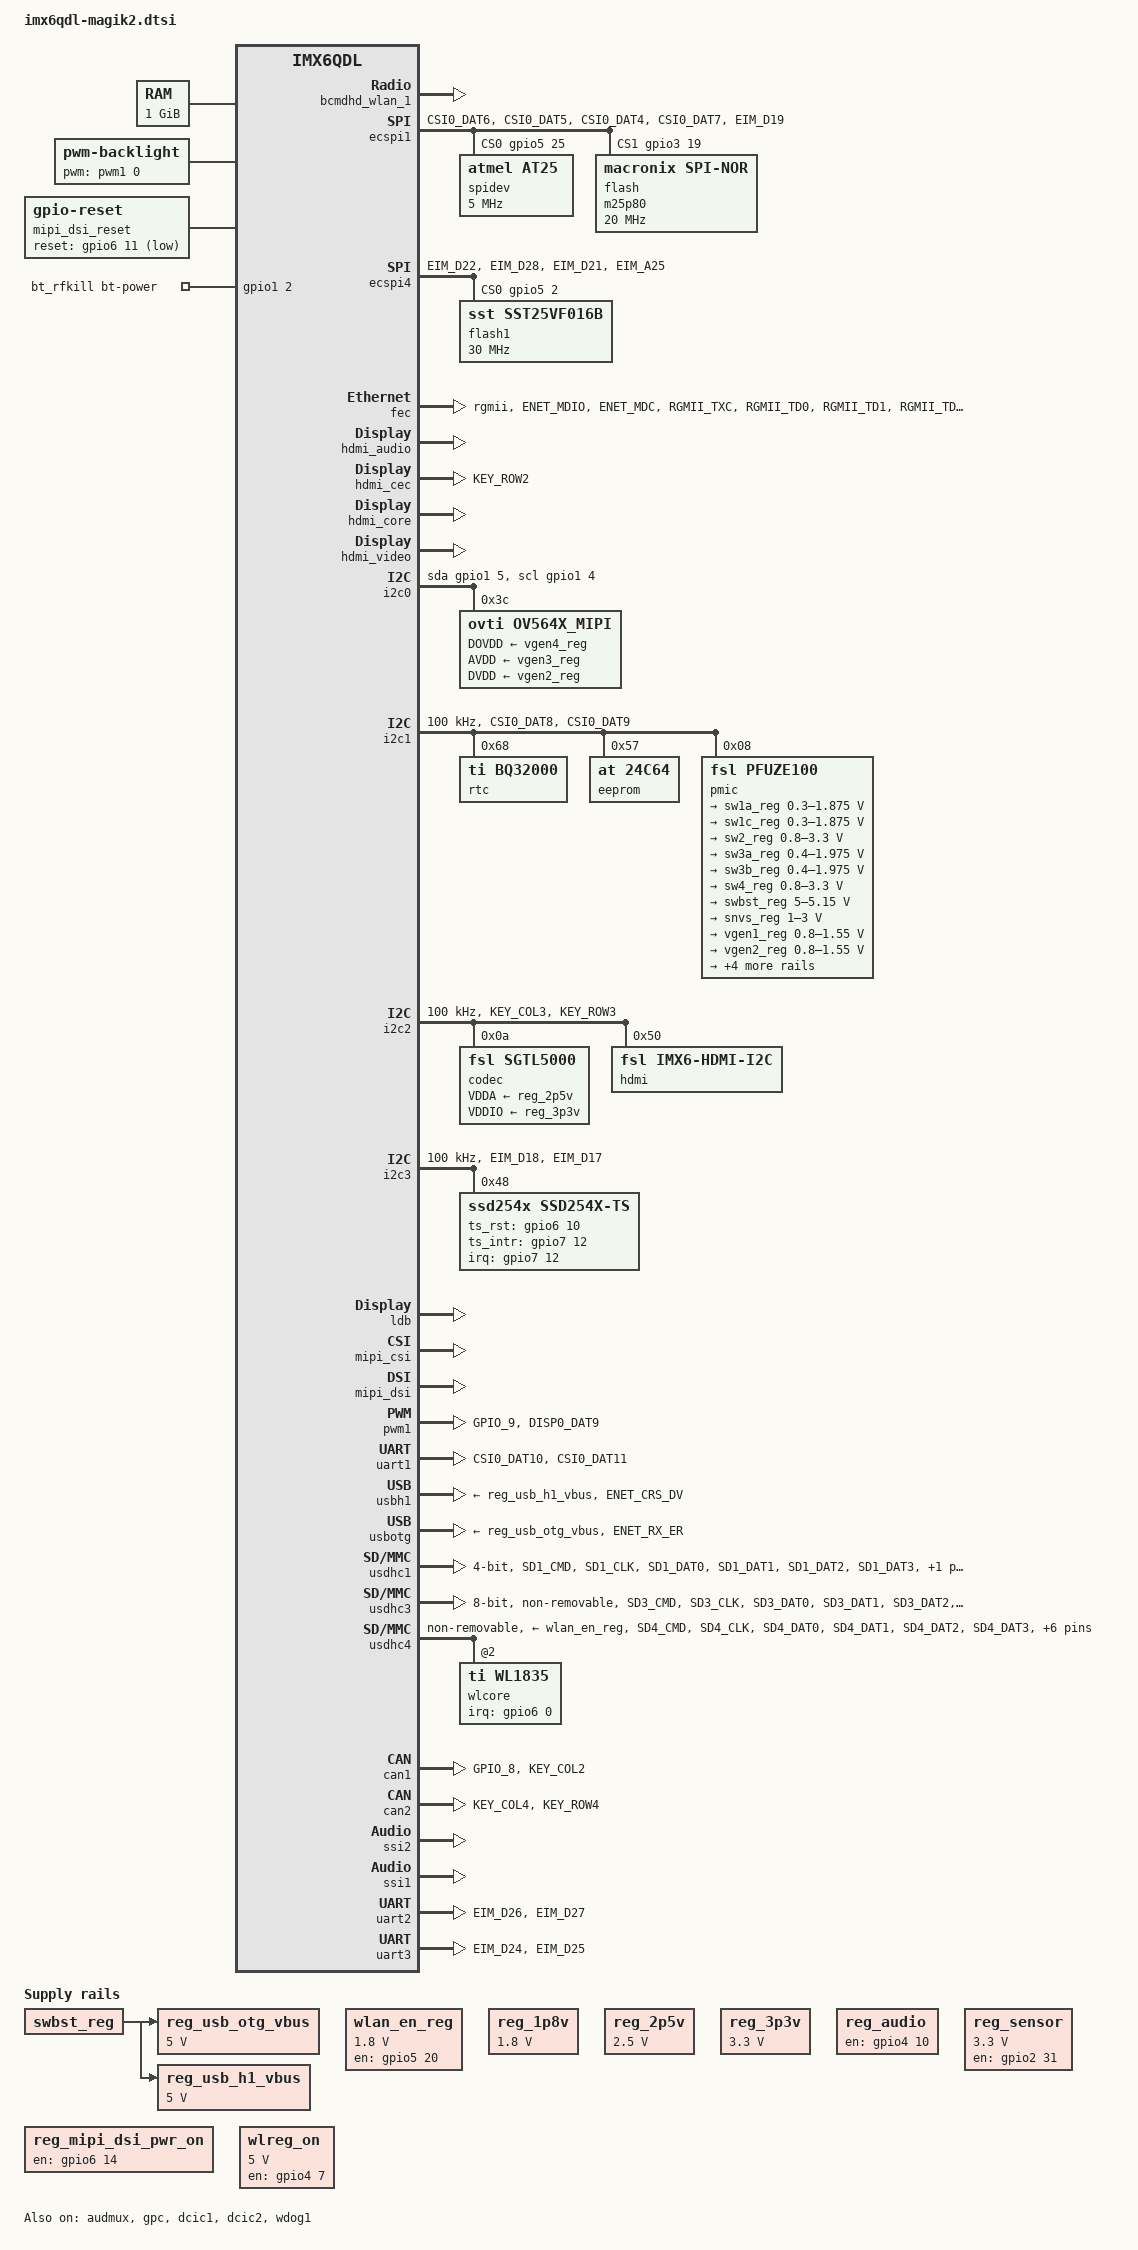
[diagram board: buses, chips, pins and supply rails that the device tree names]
/*
 * Copyright 2012-2015 Freescale Semiconductor, Inc.
 * Copyright 2011 Linaro Ltd.
 *
 * The code contained herein is licensed under the GNU General Public
 * License. You may obtain a copy of the GNU General Public License
 * Version 2 or later at the following locations:
 *
 * http://www.opensource.org/licenses/gpl-license.html
 * http://www.gnu.org/copyleft/gpl.html
 */

#include <dt-bindings/gpio/gpio.h>
#include <dt-bindings/input/input.h>

/ {
	aliases {
		mxcfb0 = &mxcfb1;
		mxcfb1 = &mxcfb2;
		mxcfb2 = &mxcfb3;
		mxcfb3 = &mxcfb4;
	};

	hannstar_cabc {
		compatible = "hannstar,cabc";
		lvds0 {
			gpios = <&gpio6 15 GPIO_ACTIVE_HIGH>;
		};
		lvds1 {
			gpios = <&gpio6 16 GPIO_ACTIVE_HIGH>;
		};
	};

	chosen {
		stdout-path = &uart1;
	};

	memory: memory {
		reg = <0x10000000 0x40000000>;
	};

	wlan_en_reg: fixedregulator@2 {
		compatible = "regulator-fixed";
		regulator-name = "wlan-en-regulator";
		regulator-min-microvolt = <1800000>;
		regulator-max-microvolt = <1800000>;
		/* WLAN_EN GPIO for this board âan5, pin20 */
		gpio = <&gpio5 20 0>;
		startup-delay-us = <70000>;
		enable-active-high;
	};

	regulators {
		compatible = "simple-bus";
		#address-cells = <1>;
		#size-cells = <0>;

		reg_1p8v: 1p8v {		
				compatible = "regulator-fixed";		
				regulator-name = "1P8V";		
				regulator-min-microvolt = <1800000>;		
				regulator-max-microvolt = <1800000>;		
				regulator-always-on;		
		};		
			
		reg_usb_otg_vbus: regulator@0 {
			compatible = "regulator-fixed";
			reg = <0>;
			regulator-name = "usb_otg_vbus";
			regulator-min-microvolt = <5000000>;
			regulator-max-microvolt = <5000000>;
			/*gpio = <&gpio3 22 0>;  */
			enable-active-low;
			vin-supply = <&swbst_reg>;
		};

		reg_usb_h1_vbus: regulator@1 {
			compatible = "regulator-fixed";
			reg = <1>;
			regulator-name = "usb_h1_vbus";
			regulator-min-microvolt = <5000000>;
			regulator-max-microvolt = <5000000>;
			/*gpio = <&gpio1 29 0>;*/
			enable-active-high;
			vin-supply = <&swbst_reg>;
		};

		/* Magik2 - Added Regulator configuration for Audio */
                reg_2p5v: 2p5v {
                        compatible = "regulator-fixed";
                        regulator-name = "2P5V";
                        regulator-min-microvolt = <2500000>;
                        regulator-max-microvolt = <2500000>;
                        regulator-always-on;
                };

		/* Magik2 - Added for Audio */
                reg_3p3v: 3p3v {
                        compatible = "regulator-fixed";
                        regulator-name = "3P3V";
                        regulator-min-microvolt = <3300000>;
                        regulator-max-microvolt = <3300000>;
                        regulator-always-on;
                };

		reg_audio: regulator@2 {
			compatible = "regulator-fixed";
			reg = <2>;
			regulator-name = "wm8962-supply";
			gpio = <&gpio4 10 0>;
			enable-active-high;
		};
		/*
		reg_pcie: regulator@3 {
			compatible = "regulator-fixed";
			reg = <3>;
			pinctrl-names = "default";
			pinctrl-0 = <&pinctrl_pcie_reg>;
			regulator-name = "MPCIE_3V3";
			regulator-min-microvolt = <3300000>;
			regulator-max-microvolt = <3300000>;
			gpio = <&gpio1 6 0>;
			regulator-always-on;
			enable-active-high;
		};
		*/
		reg_sensor: regulator@4 {
			compatible = "regulator-fixed";
			reg = <4>;
			regulator-name = "sensor-supply";
			regulator-min-microvolt = <3300000>;
			regulator-max-microvolt = <3300000>;
			gpio = <&gpio2 31 0>;
			startup-delay-us = <500>;
			enable-active-high;
		};

		reg_mipi_dsi_pwr_on: mipi_dsi_pwr_on {
			compatible = "regulator-fixed";
			regulator-name = "mipi_dsi_pwr_on";
			gpio = <&gpio6 14 0>;
			enable-active-high;
		};
		wlreg_on: fixedregulator@100 {		
				compatible = "regulator-fixed";		
				regulator-min-microvolt = <5000000>;		
				regulator-max-microvolt = <5000000>;		
				regulator-name = "wlreg_on";		
				gpio = <&gpio4 7 0>;		
				startup-delay-us = <100>;		
				enable-active-high;		
			};		
			
			bcmdhd_wlan_1: bcmdhd_wlan@0 {		
				compatible = "android,bcmdhd_wlan";		
				wlreg_on-supply = <&wlreg_on>;		
			};
	};

	sound {
                compatible = "fsl,imx6q-magik2-sgtl5000",
                                "fsl,imx-audio-sgtl5000","fsl,sgtl5000";
                model = "imx6q-magik2-sgtl5000-audio";
		cpu-dai = <&ssi2>;
                ssi-controller = <&ssi2>;	/*It is confirmed that ssi2 is the audio ssi on magik2 - q7, this line is important for alsa listing of cards while booting*/
                audio-codec = <&codec>;
                audio-routing =
                "MIC_IN", "Mic Jack",
                "Mic Jack", "Mic Bias",
                "Headphone Jack", "HP_OUT",
		"Ext Spk", "LINE_OUT";
                mux-int-port = <2>;
                mux-ext-port = <4>; // if this is 3 the file opens but doesn't start playing. 
 
        };

	sound-hdmi {
		compatible = "fsl,imx6q-audio-hdmi",
			     "fsl,imx-audio-hdmi";
		model = "imx-audio-hdmi";
		hdmi-controller = <&hdmi_audio>;
	};

	mxcfb1: fb@0 {
		compatible = "fsl,mxc_sdc_fb";
		disp_dev = "ldb";
		interface_pix_fmt = "RGB24";
		mode_str ="TIANMA-MIN-WXGA";
		default_bpp = <32>;
		int_clk = <0>;
		late_init = <0>;
		status = "disabled";
	};

	mxcfb2: fb@1 {
		compatible = "fsl,mxc_sdc_fb";
		disp_dev = "hdmi";
		interface_pix_fmt = "RGB24";
		mode_str ="1920x1080M@60";
		default_bpp = <24>;
		int_clk = <0>;
		late_init = <0>;
		status = "disabled";
	};

	mxcfb3: fb@2 {
		compatible = "fsl,mxc_sdc_fb";
		disp_dev = "lcd";
		interface_pix_fmt = "RGB565";
		mode_str ="CLAA-WVGA";
		default_bpp = <16>;
		int_clk = <0>;
		late_init = <0>;
		status = "disabled";
	};

	mxcfb4: fb@3 {
		compatible = "fsl,mxc_sdc_fb";
		disp_dev = "ldb";
		interface_pix_fmt = "RGB24";
		mode_str ="TIANMA-MIN-WXGA";
		default_bpp = <32>;
		int_clk = <0>;
		late_init = <0>;
		status = "disabled";
	};
	
/*
	 usbh1: usb@02184200 {
                compatible = "fsl,imx6q-usb", "fsl,imx27-usb";
                reg = <0x02184200 0x200>;
                interrupts = <0 40 0x04>;
                clocks = <&clks 162>;
                fsl,usbphy = <&usbphy2>;
                fsl,usbmisc = <&usbmisc 1>;
                status = "disabled";
         };	
*/
	lcd@0 {
		compatible = "fsl,lcd";
		ipu_id = <0>;
		disp_id = <0>;
		default_ifmt = "RGB565";
		pinctrl-names = "default";
		pinctrl-0 = <&pinctrl_ipu1>;
		status = "okay";
	};

	pwm-backlight {
		compatible = "pwm-backlight";				
		pwms = <&pwm1 0 50000>;				
		brightness-levels = <				
		0  1  2  3  4  5  6  7  8  9	
		10 11 12 13 14 15 16 17 18 19		
		20 21 22 23 24 25 26 27 28 29		
		30 31 32 33 34 35 36 37 38 39		
		40 41 42 43 44 45 46 47 48 49		
		50 51 52 53 54 55 56 57 58 59		
		60 61 62 63 64 65 66 67 68 69		
		70 71 72 73 74 75 76 77 78 79		
		80 81 82 83 84 85 86 87 88 89		
		90 91 92 93 94 95 96 97 98 99		
		100		
		>;		
		default-brightness-level = <100>;			
		status = "okay";
	};

/*	v4l2_cap_0 {
		compatible = "fsl,imx6q-v4l2-capture";
		ipu_id = <0>;
		csi_id = <0>;
		mclk_source = <0>;
		status = "okay";
	};
*/

	v4l2_cap_1 {
		compatible = "fsl,imx6q-v4l2-capture";
		ipu_id = <0>;
		csi_id = <1>;
		mclk_source = <0>;
		status = "okay";
	};

	v4l2_out {
		compatible = "fsl,mxc_v4l2_output";
		status = "okay";
	};

	mipi_dsi_reset: mipi-dsi-reset {
		compatible = "gpio-reset";
		reset-gpios = <&gpio6 11 GPIO_ACTIVE_LOW>;
		reset-delay-us = <50>;
		#reset-cells = <0>;
	};
	
	/*
	minipcie_ctrl {		
		power-on-gpio = <&gpio3 19 0>;		
	};		
	*/

	ramoops_device {		
		compatible = "fsl,mxc_ramoops";		
		record_size = <524288>; /*512K*/		
		console_size = <262144>; /*256K*/		
		ftrace_size = <262144>;  /*256K*/		
		dump_oops = <1>;		
		status = "okay";		
	};		

	bt_rfkill {		
		compatible = "fsl,mxc_bt_rfkill";		
		bt-power-gpios = <&gpio1 2 0>;		
		status ="okay";		
	};		

	caam_keyblob {		
		compatible = "fsl,sec-v4.0-keyblob";		
	};
};

&audmux {
	pinctrl-names = "default";
	pinctrl-0 = <&pinctrl_audmux_1>;
	status = "okay";
};

&cpu0 {
	arm-supply = <&sw1a_reg>;
	soc-supply = <&sw1c_reg>;
};

&clks {
	fsl,ldb-di0-parent = <&clks IMX6QDL_CLK_PLL2_PFD0_352M>;
	fsl,ldb-di1-parent = <&clks IMX6QDL_CLK_PLL2_PFD0_352M>;
};

&ecspi1 {
	fsl,spi-num-chipselects = <2>;
	cs-gpios = <&gpio5 25 0>, <&gpio3 19 0>;
	pinctrl-names = "default";
	pinctrl-0 = <&pinctrl_ecspi1_2 &pinctrl_ecspi1_1>;
	status = "okay";

	spidev@0{
		compatible = "atmel,at25";
		spi-max-frequency = <5000000>;  // spi-max-frequency IS COMPULSORY. DRIVER REQUIRES IT. 
		size = <2048>;
		pagesize = <16>;
		address-width = <24>;
		reg = <0>; // This is chip select
	};

	flash: m25p80@1 {
		compatible = "macronix,spi-nor"; // If device is unknown make it SPI-NOR. It is written in the driver.
		spi-max-frequency = <20000000>;
		reg = <1>;
	};
	  
};


&ecspi4 {
	fsl,spi-num-chipselects = <2>;
	cs-gpios = <&gpio5 2 0>;
	pinctrl-names = "default";
	pinctrl-0 = <&pinctrl_ecspi4>;
	status = "okay";

	flash1: m25p80@0 {
		compatible = "sst,sst25vf016b";
		spi-max-frequency = <30000000>;
		reg = <0>;
	};
};

&fec {
	pinctrl-names = "default";
	pinctrl-0 = <&pinctrl_enet>;
	phy-mode = "rgmii";
	phy-reset-gpios = <&gpio1 30 0>;
	fsl,magic-packet;
	status = "okay";
};

&gpc {
	fsl,ldo-bypass = <1>; 
	fsl,wdog-reset = <1>; 
	status = "okay";
};

&dcic1 {
	dcic_id = <0>;
	dcic_mux = "dcic-hdmi";
	status = "okay";
};

&dcic2 {
	dcic_id = <1>;
	dcic_mux = "dcic-lvds1";
	status = "okay";
};

&hdmi_audio {
	status = "okay";
};

&hdmi_cec {
	pinctrl-names = "default";
	pinctrl-0 = <&pinctrl_hdmi_cec>;
	status = "okay";
};

&hdmi_core {
	ipu_id = <0>;
	disp_id = <0>;
	status = "okay";
};

&hdmi_video {
	fsl,phy_reg_vlev = <0x0294>;
	fsl,phy_reg_cksymtx = <0x800d>;
	status = "okay";
};

&i2c0 {
	  pinctrl-names = "default";
          compatible = "i2c-gpio";
          gpios = <&gpio1  5  0  /* sda */ &gpio1  4  0  /* scl */ >;
          i2c-gpio,delay-us = <5>;
          i2c-gpio,timeout-ms = <100>;
          #address-cells = <1>;
          #size-cells  = <0>;


        ov564x_mipi: ov564x_mipi@3c {
                 compatible = "ovti,ov564x_mipi";
                 reg = <0x3c>;
                 clocks = <&clks 201>;
                 clock-names = "csi_mclk";
                 DOVDD-supply = <&vgen4_reg>; /* 1.8v */
                 AVDD-supply = <&vgen3_reg>;  /* 2.8v, on rev C board is VGEN3, on rev B board is VGEN5 */
                 DVDD-supply = <&vgen2_reg>;  /* 1.5v*/
                 csi_id = <1>;
                 mclk = <24000000>;
                 mclk_source = <0>;
         };
};


&i2c1 {
	clock-frequency = <100000>;
	pinctrl-names = "default";
	pinctrl-0 = <&pinctrl_i2c1>;
	status = "okay";

	rtc@68 {
                compatible = "ti,bq32000";
		reg = <0x68>;
        }; 	

	eeprom@57 {
		compatible = "at,24c64";
		reg = <0x57>;
	};

	
	pmic: pfuze100@08 {
		compatible = "fsl,pfuze100";
		reg = <0x08>;

		regulators {
			sw1a_reg: sw1ab {
				regulator-min-microvolt = <300000>;
				regulator-max-microvolt = <1875000>;
				regulator-boot-on;
				regulator-always-on;
				regulator-ramp-delay = <6250>;
			};

			sw1c_reg: sw1c {
				regulator-min-microvolt = <300000>;
				regulator-max-microvolt = <1875000>;
				regulator-boot-on;
				regulator-always-on;
				regulator-ramp-delay = <6250>;
			};

			sw2_reg: sw2 {
				regulator-min-microvolt = <800000>;
				regulator-max-microvolt = <3300000>;
				regulator-boot-on;
				regulator-always-on;
				regulator-ramp-delay = <6250>;
			};

			sw3a_reg: sw3a {
				regulator-min-microvolt = <400000>;
				regulator-max-microvolt = <1975000>;
				regulator-boot-on;
				regulator-always-on;
			};

			sw3b_reg: sw3b {
				regulator-min-microvolt = <400000>;
				regulator-max-microvolt = <1975000>;
				regulator-boot-on;
				regulator-always-on;
			};

			sw4_reg: sw4 {
				regulator-min-microvolt = <800000>;
				regulator-max-microvolt = <3300000>;
			};

			swbst_reg: swbst {
				regulator-min-microvolt = <5000000>;
				regulator-max-microvolt = <5150000>;
			};

			
			snvs_reg: vsnvs {
				regulator-min-microvolt = <1000000>;
				regulator-max-microvolt = <3000000>;
				regulator-boot-on;
				regulator-always-on;
			};

			vref_reg: vrefddr {
				regulator-boot-on;
				regulator-always-on;
			};

			vgen1_reg: vgen1 {
				regulator-min-microvolt = <800000>;
				regulator-max-microvolt = <1550000>;
			};

			vgen2_reg: vgen2 {
				regulator-min-microvolt = <800000>;
				regulator-max-microvolt = <1550000>;
			};

			vgen3_reg: vgen3 {
				regulator-min-microvolt = <1800000>;
				regulator-max-microvolt = <3300000>;
			};
			
			vgen4_reg: vgen4 {
				regulator-min-microvolt = <1800000>;
				regulator-max-microvolt = <3300000>;
				regulator-always-on;
			};
			
			vgen5_reg: vgen5 {
				regulator-min-microvolt = <1800000>;
				regulator-max-microvolt = <3300000>;
				regulator-always-on;
			};

			vgen6_reg: vgen6 {
				regulator-min-microvolt = <1800000>;
				regulator-max-microvolt = <3300000>;
				regulator-always-on;
			};
		};
	};
	
};

&i2c2 {
	clock-frequency = <100000>;
	pinctrl-names = "default";
	pinctrl-0 = <&pinctrl_i2c2>;
	status = "okay";

	/*It is confirmed that i2c2 is the magik2 bus for audio*/
	codec: sgtl5000@0a {		
		compatible = "fsl,sgtl5000";		
		reg = <0x0a>;		
		clocks = <&clks 201>;
		/*ssi-controller = <&ssi2>;Not required*/
		VDDA-supply = <&reg_2p5v>;		
		VDDIO-supply = <&reg_3p3v>;		
	};
	
	hdmi: edid@50 {
		compatible = "fsl,imx6-hdmi-i2c";
		reg = <0x50>;
	};
};

&i2c3 {
	clock-frequency = <100000>;
	pinctrl-names = "default";
	pinctrl-0 = <&pinctrl_i2c3>;
	status = "okay";

	ssd254x@48 {
		compatible = "ssd254x,ssd254x-ts";
		reg = <0x48>;
		interrupt-parent = <&gpio7>;
		interrupts = <12 IRQ_TYPE_EDGE_FALLING>;
		gpio_ts_rst = <&gpio6 10 0>;
		gpio_ts_intr = <&gpio7 12 0>;
		status = "okay";
	};
};

&iomuxc {
	pinctrl-names = "default";
	pinctrl-0 = <&pinctrl_hog>;

	imx6qdl-magik2 {
		pinctrl_hog: hoggrp {
			fsl,pins = <
				MX6QDL_PAD_GPIO_4__GPIO1_IO04   0x80000000
				MX6QDL_PAD_GPIO_5__GPIO1_IO05   0x80000000
				MX6QDL_PAD_GPIO_3__CCM_CLKO2	0x130b0	/* Added for Q7*/
				MX6QDL_PAD_EIM_D20__GPIO3_IO20 0x80000000
				MX6QDL_PAD_EIM_D30__GPIO3_IO30 0x80000000
				MX6QDL_PAD_DI0_PIN4__GPIO4_IO20 0x80000000 
				MX6QDL_PAD_SD2_CLK__GPIO1_IO10	0x80000000
				MX6QDL_PAD_SD2_CMD__GPIO1_IO11	0x80000000
				MX6QDL_PAD_ENET_RXD0__GPIO1_IO27 0x80000000
				MX6QDL_PAD_ENET_RXD1__GPIO1_IO26 0x80000000
				MX6QDL_PAD_ENET_TXD0__GPIO1_IO30 0x80000000
				MX6QDL_PAD_ENET_TXD1__GPIO1_IO29 0x80000000
				MX6QDL_PAD_KEY_COL0__GPIO4_IO06 0x80000000	//watchdog Enable
				MX6QDL_PAD_KEY_ROW0__GPIO4_IO07 0x80000000
				MX6QDL_PAD_KEY_ROW1__GPIO4_IO09 0x80000000
				MX6QDL_PAD_GPIO_0__GPIO1_IO00	0x80000000
			/*	MX6QDL_PAD_GPIO_0__CCM_CLKO1    0x030b0		/*clock for sgtl5000 reference sabrelite changed from 130b0 to 030b0*/
				MX6QDL_PAD_DISP0_DAT9__GPIO4_IO30    0x80000000	
				MX6QDL_PAD_GPIO_6__GPIO1_IO06	0x80000000
				MX6QDL_PAD_GPIO_7__GPIO1_IO07	0x80000000
				MX6QDL_PAD_GPIO_17__GPIO7_IO12	0x80000000	/*Bat low / Touch interrupt*/
				MX6QDL_PAD_NANDF_CS0__GPIO6_IO11 0x80000000
				MX6QDL_PAD_NANDF_CLE__GPIO6_IO07 0x80000000
				MX6QDL_PAD_NANDF_WP_B__GPIO6_IO09 0x80000000
				MX6QDL_PAD_NANDF_RB0__GPIO6_IO10 0x80000000	/*Sleep Button/ Touch reset*/
				MX6QDL_PAD_NANDF_D0__GPIO2_IO00	0x80000000
				MX6QDL_PAD_NANDF_D5__GPIO2_IO05	0x80000000			
				MX6QDL_PAD_NANDF_D4__GPIO2_IO04 0x80000000	/*HDA RESET*/
			>;
		};

		pinctrl_audmux_1: audmuxgrp {
			fsl,pins = <
				MX6QDL_PAD_SD2_DAT0__AUD4_RXD	0x130b0
				MX6QDL_PAD_SD2_DAT3__AUD4_TXC	0x130b0
				MX6QDL_PAD_SD2_DAT2__AUD4_TXD	0x110b0
				MX6QDL_PAD_SD2_DAT1__AUD4_TXFS	0x130b0		
			>;
		};

		pinctrl_ecspi1_1: ecspi1_1grp {
			fsl,pins = <
				MX6QDL_PAD_CSI0_DAT6__ECSPI1_MISO	0x100b1		/*Modified for ECSPI1 spi_nor magik2_q7*/
				MX6QDL_PAD_CSI0_DAT5__ECSPI1_MOSI	0x100b1
				MX6QDL_PAD_CSI0_DAT4__ECSPI1_SCLK	0x100b1
				MX6QDL_PAD_EIM_D19__GPIO3_IO19		0x80000000
			>;
		};

		pinctrl_ecspi1_2: ecspi1_2grp {
			fsl,pins = <
				MX6QDL_PAD_CSI0_DAT6__ECSPI1_MISO	0x100b1		/*Modified for ECSPI1 eeprom magik2_q7*/
				MX6QDL_PAD_CSI0_DAT5__ECSPI1_MOSI	0x100b1
				MX6QDL_PAD_CSI0_DAT4__ECSPI1_SCLK	0x100b1
				MX6QDL_PAD_CSI0_DAT7__GPIO5_IO25	0x80000000
			>;
		};

		pinctrl_ecspi4: ecspi4grp {
			fsl,pins = <
				MX6QDL_PAD_EIM_D22__ECSPI4_MISO		0x100b1		/*Modified for ECSPI4 magik2_q7*/
				MX6QDL_PAD_EIM_D28__ECSPI4_MOSI		0x100b1
				MX6QDL_PAD_EIM_D21__ECSPI4_SCLK		0x100b1
				MX6QDL_PAD_EIM_A25__GPIO5_IO02 		0x80000000
			>;
		};

		pinctrl_enet: enetgrp {
			fsl,pins = <
				MX6QDL_PAD_ENET_MDIO__ENET_MDIO		0x1b0b0
				MX6QDL_PAD_ENET_MDC__ENET_MDC		0x1b0b0
				MX6QDL_PAD_RGMII_TXC__RGMII_TXC		0x1b0b0
				MX6QDL_PAD_RGMII_TD0__RGMII_TD0		0x1b0b0
				MX6QDL_PAD_RGMII_TD1__RGMII_TD1		0x1b0b0
				MX6QDL_PAD_RGMII_TD2__RGMII_TD2		0x1b0b0
				MX6QDL_PAD_RGMII_TD3__RGMII_TD3		0x1b0b0
				MX6QDL_PAD_RGMII_TX_CTL__RGMII_TX_CTL	0x1b0b0
				MX6QDL_PAD_ENET_REF_CLK__GPIO1_IO23	0x1b0b0
				MX6QDL_PAD_RGMII_RXC__RGMII_RXC		0x1b0b0
				MX6QDL_PAD_RGMII_RD0__RGMII_RD0		0x1b0b0
				MX6QDL_PAD_RGMII_RD1__RGMII_RD1		0x1b0b0
				MX6QDL_PAD_RGMII_RD2__RGMII_RD2		0x1b0b0
				MX6QDL_PAD_RGMII_RD3__RGMII_RD3		0x1b0b0
				MX6QDL_PAD_RGMII_RX_CTL__RGMII_RX_CTL	0x1b0b0
			
			>;
		};

		pinctrl_hdmi_cec: hdmicecgrp {
			fsl,pins = <
				MX6QDL_PAD_KEY_ROW2__HDMI_TX_CEC_LINE 	0x108b0
			>;
		};

		pinctrl_hdmi_hdcp: hdmihdcpgrp {
			fsl,pins = <
				MX6QDL_PAD_EIM_EB2__HDMI_TX_DDC_SCL 	0x4001b8b1
				MX6QDL_PAD_EIM_D16__HDMI_TX_DDC_SDA 	0x4001b8b1
			>;
		};

		pinctrl_i2c1: i2c1grp {
			fsl,pins = <
				MX6QDL_PAD_CSI0_DAT8__I2C1_SDA		0x4001b8b1
				MX6QDL_PAD_CSI0_DAT9__I2C1_SCL		0x4001b8b1
			>;
		};

		pinctrl_i2c2: i2c2grp {
			fsl,pins = <
				MX6QDL_PAD_KEY_COL3__I2C2_SCL		0x4001b8b1
				MX6QDL_PAD_KEY_ROW3__I2C2_SDA		0x4001b8b1
			>;
		};

		pinctrl_i2c3: i2c3grp {
			fsl,pins = <
				MX6QDL_PAD_EIM_D18__I2C3_SDA		0x4001b8b1
				MX6QDL_PAD_EIM_D17__I2C3_SCL		0x4001b8b1	
			>;
		};

		pinctrl_ipu1: ipu1grp {
			fsl,pins = <
				MX6QDL_PAD_DI0_DISP_CLK__IPU1_DI0_DISP_CLK 0x10
				MX6QDL_PAD_DI0_PIN15__IPU1_DI0_PIN15       0x10
				MX6QDL_PAD_DI0_PIN2__IPU1_DI0_PIN02        0x10
				MX6QDL_PAD_DI0_PIN3__IPU1_DI0_PIN03        0x10
				MX6QDL_PAD_DISP0_DAT0__IPU1_DISP0_DATA00   0x10
				MX6QDL_PAD_DISP0_DAT1__IPU1_DISP0_DATA01   0x10
				MX6QDL_PAD_DISP0_DAT2__IPU1_DISP0_DATA02   0x10
				MX6QDL_PAD_DISP0_DAT3__IPU1_DISP0_DATA03   0x10
				MX6QDL_PAD_DISP0_DAT4__IPU1_DISP0_DATA04   0x10
				MX6QDL_PAD_DISP0_DAT5__IPU1_DISP0_DATA05   0x10
				MX6QDL_PAD_DISP0_DAT6__IPU1_DISP0_DATA06   0x10
				MX6QDL_PAD_DISP0_DAT7__IPU1_DISP0_DATA07   0x10
				MX6QDL_PAD_DISP0_DAT8__IPU1_DISP0_DATA08   0x10
				MX6QDL_PAD_DISP0_DAT10__IPU1_DISP0_DATA10  0x10
				MX6QDL_PAD_DISP0_DAT11__IPU1_DISP0_DATA11  0x10
				MX6QDL_PAD_DISP0_DAT12__IPU1_DISP0_DATA12  0x10
				MX6QDL_PAD_DISP0_DAT13__IPU1_DISP0_DATA13  0x10
				MX6QDL_PAD_DISP0_DAT14__IPU1_DISP0_DATA14  0x10
				MX6QDL_PAD_DISP0_DAT15__IPU1_DISP0_DATA15  0x10
				MX6QDL_PAD_DISP0_DAT16__IPU1_DISP0_DATA16  0x10
				MX6QDL_PAD_DISP0_DAT17__IPU1_DISP0_DATA17  0x10
				MX6QDL_PAD_DISP0_DAT18__IPU1_DISP0_DATA18  0x10
				MX6QDL_PAD_DISP0_DAT19__IPU1_DISP0_DATA19  0x10
				MX6QDL_PAD_DISP0_DAT20__IPU1_DISP0_DATA20  0x10
				MX6QDL_PAD_DISP0_DAT21__IPU1_DISP0_DATA21  0x10
				MX6QDL_PAD_DISP0_DAT22__IPU1_DISP0_DATA22  0x10
				MX6QDL_PAD_DISP0_DAT23__IPU1_DISP0_DATA23  0x10
			>;
		};

		pinctrl_ipu1_2: ipu1grp-2 { /* parallel camera */
			fsl,pins = <
				MX6QDL_PAD_CSI0_DAT12__IPU1_CSI0_DATA12    0x80000000
				MX6QDL_PAD_CSI0_DAT13__IPU1_CSI0_DATA13    0x80000000
				MX6QDL_PAD_CSI0_DAT14__IPU1_CSI0_DATA14    0x80000000
				MX6QDL_PAD_CSI0_DAT15__IPU1_CSI0_DATA15    0x80000000
				MX6QDL_PAD_CSI0_DAT16__IPU1_CSI0_DATA16    0x80000000
				MX6QDL_PAD_CSI0_DAT17__IPU1_CSI0_DATA17    0x80000000
				MX6QDL_PAD_CSI0_DAT18__IPU1_CSI0_DATA18    0x80000000
				MX6QDL_PAD_CSI0_DAT19__IPU1_CSI0_DATA19    0x80000000
				MX6QDL_PAD_CSI0_DATA_EN__IPU1_CSI0_DATA_EN 0x80000000
				MX6QDL_PAD_CSI0_PIXCLK__IPU1_CSI0_PIXCLK   0x80000000
				MX6QDL_PAD_CSI0_MCLK__IPU1_CSI0_HSYNC      0x80000000
				MX6QDL_PAD_CSI0_VSYNC__IPU1_CSI0_VSYNC     0x80000000
				MX6QDL_PAD_SD1_DAT1__GPIO1_IO17            0x80000000
				MX6QDL_PAD_SD1_DAT0__GPIO1_IO16            0x80000000 	
				MX6QDL_PAD_GPIO_3__CCM_CLKO2		   0x80000000	/* Added for Q7*/
				MX6QDL_PAD_GPIO_4__GPIO1_IO04		   0x80000000	/* Added for Q7*/
				MX6QDL_PAD_GPIO_5__GPIO1_IO05		   0x80000000	/* Added for Q7*/
				MX6QDL_PAD_GPIO_19__CCM_CLKO1		   0x80000000	/* Added for Q7*/
			>;
		};

		/*
		pinctrl_pcie: pciegrp {
			fsl,pins = <
				MX6QDL_PAD_GPIO_6__GPIO1_IO06		0x1b0b0		/*Modified for Magik2_q7
			>;
		};

		pinctrl_pcie_reg: pciereggrp {
			fsl,pins = <
				MX6QDL_PAD_ENET_TX_EN__GPIO1_IO28	0x1b0b0		/*Modified for Magik2_q7
			>;
		};
		*/
		pinctrl_pwm1: pwm1grp {
			fsl,pins = <
				MX6QDL_PAD_GPIO_9__PWM1_OUT		0x1b0b1
				MX6QDL_PAD_DISP0_DAT9__PWM2_OUT		0x1b0b1
			>;
		};

		pinctrl_uart1: uart1grp {
			fsl,pins = <
				MX6QDL_PAD_CSI0_DAT10__UART1_TX_DATA	0x1b0b1
				MX6QDL_PAD_CSI0_DAT11__UART1_RX_DATA	0x1b0b1
			>;
		};
		
		pinctrl_uart2: uart2dtegrp-1 {		
			fsl,pins = <
				MX6QDL_PAD_EIM_D26__UART2_TX_DATA	0x1b0b1
				MX6QDL_PAD_EIM_D27__UART2_RX_DATA	0x1b0b1	
			>;		
		};		
			
		pinctrl_uart3: uart3grp {		
			fsl,pins = <		
				MX6QDL_PAD_EIM_D24__UART3_TX_DATA	0x1b0b1		
				MX6QDL_PAD_EIM_D25__UART3_RX_DATA	0x1b0b1		
			>;		
		};

		pinctrl_usb: usbotggrp {
			fsl,pins = <
				MX6QDL_PAD_ENET_RX_ER__USB_OTG_ID	0x17059
			>;
		};
		
		pinctrl_usb_h1: usbh1grp-1 {
			fsl,pins = <
				MX6QDL_PAD_ENET_CRS_DV__GPIO1_IO25      0x80000000
			>;
		};
			
		pinctrl_usdhc1: usdhc1grp {
                        fsl,pins = <
	                        MX6QDL_PAD_SD1_CMD__SD1_CMD             0x17059
				MX6QDL_PAD_SD1_CLK__SD1_CLK             0x10059
                                MX6QDL_PAD_SD1_DAT0__SD1_DATA0          0x17059
                                MX6QDL_PAD_SD1_DAT1__SD1_DATA1          0x17059
                                MX6QDL_PAD_SD1_DAT2__SD1_DATA2          0x17059
                                MX6QDL_PAD_SD1_DAT3__SD1_DATA3          0x17059
				MX6QDL_PAD_GPIO_1__GPIO1_IO01		0x17049 
				/*MX6QDL_PAD_GPIO_1__GPIO1_IO01		0x17059*/
                        >;
                };


		pinctrl_usdhc3: usdhc3grp {
			fsl,pins = <
				MX6QDL_PAD_SD3_CMD__SD3_CMD		0x17059
				MX6QDL_PAD_SD3_CLK__SD3_CLK		0x10059
				MX6QDL_PAD_SD3_DAT0__SD3_DATA0		0x17059
				MX6QDL_PAD_SD3_DAT1__SD3_DATA1		0x17059
				MX6QDL_PAD_SD3_DAT2__SD3_DATA2		0x17059
				MX6QDL_PAD_SD3_DAT3__SD3_DATA3		0x17059
				MX6QDL_PAD_SD3_DAT4__SD3_DATA4		0x17059
				MX6QDL_PAD_SD3_DAT5__SD3_DATA5		0x17059
				MX6QDL_PAD_SD3_DAT6__SD3_DATA6		0x17059
				MX6QDL_PAD_SD3_DAT7__SD3_DATA7		0x17059
				MX6QDL_PAD_SD3_RST__SD3_RESET		0x17059
			>;
		};

		pinctrl_usdhc4: usdhc4grp {
			fsl,pins = <
				MX6QDL_PAD_SD4_CMD__SD4_CMD		0x17059
				MX6QDL_PAD_SD4_CLK__SD4_CLK		0x10059
				MX6QDL_PAD_SD4_DAT0__SD4_DATA0		0x17059
				MX6QDL_PAD_SD4_DAT1__SD4_DATA1		0x17059
				MX6QDL_PAD_SD4_DAT2__SD4_DATA2		0x17059
				MX6QDL_PAD_SD4_DAT3__SD4_DATA3		0x17059
				MX6QDL_PAD_SD4_DAT4__SD4_DATA4		0x17059
				MX6QDL_PAD_SD4_DAT5__SD4_DATA5		0x17059
				MX6QDL_PAD_SD4_DAT6__SD4_DATA6		0x17059
				MX6QDL_PAD_SD4_DAT7__SD4_DATA7		0x17059
				MX6QDL_PAD_NANDF_D2__GPIO2_IO02    	0x17059	
	       			MX6QDL_PAD_NANDF_D3__GPIO2_IO03    	0x17059
	/*		        MX6QDL_PAD_NANDF_D7__GPIO2_IO07    	0x17059 */ /* write protect */
			>;
		};
		
		pinctrl_flexcan1: flexcan1grp {
                        fsl,pins = <
                                MX6QDL_PAD_GPIO_8__FLEXCAN1_RX   	0x80000000
                                MX6QDL_PAD_KEY_COL2__FLEXCAN1_TX 	0x80000000
                        >;
		};
        
	
		pinctrl_flexcan2: flexcan2grp {
                        fsl,pins = <
                                MX6QDL_PAD_KEY_COL4__FLEXCAN2_TX 	0x80000000
                                MX6QDL_PAD_KEY_ROW4__FLEXCAN2_RX 	0x80000000
                        >;
	        };
	};
};


&ldb {
	ipu_id = <0>;		
		disp_id = <0>;		
		ext_ref = <1>;		
		mode = "sep0";		
		sec_ipu_id = <1>;		
		sec_disp_id = <1>;
	status = "okay";

	lvds-channel@0 {
		fsl,data-mapping = "spwg";
		fsl,data-width = <24>;
		primary;
		status = "okay";

		display-timings {
			native-mode = <&timing0>;
		/*	timing0: TIANMA-TYP-WXGA {
				clock-frequency = <60000000>;
				hactive = <1280>;
				vactive = <800>;
				hback-porch = <5>;
				hfront-porch = <64>;
				vback-porch = <2>;
				vfront-porch = <40>;
				hsync-len = <69>;
				vsync-len = <42>;
				hsync-active = <0>;
				vsync-active = <0>;
			};*/
			timing0: TIANMA-MIN-WXGA {
				clock-frequency = <60000000>; /*For GE AUO 15.6" display, clock frequency can be modified as, min:50MHZ typical:70.93MHZ max: 75MHZ*/
				hactive = <1280>; /*For GE AUO 15.6" display, modify hactive to 1920 full HD*/
				vactive = <800>; /*For GE AUO 15.6" dispaly, modify vactive to 1080 full HD*/
				hback-porch = <5>;
				hfront-porch = <23>;
				vback-porch = <2>;
				vfront-porch = <5>;
				hsync-len = <1>;
				vsync-len = <1>;
				hsync-active = <0>;
				vsync-active = <0>;
		};
		};
	};

	lvds-channel@1 {
		fsl,data-mapping = "spwg";
		fsl,data-width = <18>;
		status = "disabled";

		display-timings {
			native-mode = <&timing1>;
			timing1: hsd100pxn1 {
				clock-frequency = <65000000>;
				hactive = <1024>;
				vactive = <768>;
				hback-porch = <220>;
				hfront-porch = <40>;
				vback-porch = <21>;
				vfront-porch = <7>;
				hsync-len = <60>;
				vsync-len = <10>;
			};
		};
	};
};

&mipi_csi {
	status = "okay";
	ipu_id = <0>;
	csi_id = <1>;
	v_channel = <0>;
	lanes = <2>;
};

&mipi_dsi {
	dev_id = <0>;
	disp_id = <1>;
	lcd_panel = "TRULY-WVGA";
	disp-power-on-supply = <&reg_mipi_dsi_pwr_on>;
	resets = <&mipi_dsi_reset>;
	status = "okay";
};

/*
&pcie {
	pinctrl-names = "default";
	pinctrl-0 = <&pinctrl_pcie>;
	reset-gpio = <&gpio1 28 0>;
	status = "okay";
};
*/
&pwm1 {
	pinctrl-names = "default";
	pinctrl-0 = <&pinctrl_pwm1>;
	status = "okay";
};

&snvs_poweroff {
	status = "okay";
};

&uart1 {
	pinctrl-names = "default";
	pinctrl-0 = <&pinctrl_uart1>;
	status = "okay";
};

&usbh1 {
	vbus-supply = <&reg_usb_h1_vbus>;
	pinctrl-names = "default";
        pinctrl-0 = <&pinctrl_usb_h1>;
	status = "okay";
};

&usbotg {
	vbus-supply = <&reg_usb_otg_vbus>;
	pinctrl-names = "default";
	pinctrl-0 = <&pinctrl_usb>;
	disable-over-current;
	srp-disable;
	hnp-disable;
	adp-disable;
	status = "okay";
};

&usbphy1 {
	tx-d-cal = <0x5>;
};

&usbphy2 {
	tx-d-cal = <0x5>;
};

&usdhc1 {
	pinctrl-names = "default";
	pinctrl-0 = <&pinctrl_usdhc1>;
	bus-width = <4>;
	/*cd-gpios = <&gpio1 1 GPIO_ACTIVE_LOW>;*/
	/*wp-gpios = <&gpio2 3 GPIO_ACTIVE_HIGH>;*/
	no-1-8-v;
	keep-power-in-suspend;
	enable-sdio-wakeup;
	status = "okay";
};

&usdhc3 {
	pinctrl-names = "default";
	pinctrl-0 = <&pinctrl_usdhc3>;
	bus-width = <8>;
	non-removable;
	no-1-8-v;
	keep-power-in-suspend;
	enable-sdio-wakeup;
	status = "okay";
};

&usdhc4 {
	pinctrl-names = "default";
	pinctrl-0 = <&pinctrl_usdhc4>;
	vmmc-supply = <&wlan_en_reg>;
	no-1-8-v;
	keep-power-in-suspend;
	cap-power-off-card;
	enable-sdio-wakeup;
	non-removable;
	status = "okay";
	#address-cells = <1>;
	#size-cells = <0>;
	wlcore: wlcore@0 {
		compatible = "ti,wl1835";
		reg = <2>;
		interrupt-parent = <&gpio6>; /*<&gpio4>;*/
		interrupts = <0 IRQ_TYPE_EDGE_RISING>;
		platform-quirks = <1>;
	};
};

&wdog1 {
	status = "okay";
};

&can1 {
        pinctrl-names = "default";
        pinctrl-0 = <&pinctrl_flexcan1>;
	status = "okay";
};

&can2 {
        pinctrl-names = "default";
        pinctrl-0 = <&pinctrl_flexcan2>;
        status = "okay";
};

&ssi2 {
        fsl,mode = "i2s-slave";
        status = "okay";
};

&ssi1 {
        fsl,mode = "i2s-slave";
        status = "okay";
};

&uart2 {
        pinctrl-names = "default";
        pinctrl-0 = <&pinctrl_uart2>;
        status = "okay";
};

&uart3 {
        pinctrl-names = "default";
        pinctrl-0 = <&pinctrl_uart3>;
        status = "okay";
};

&wdog2 {
	status = "disabled";
};
